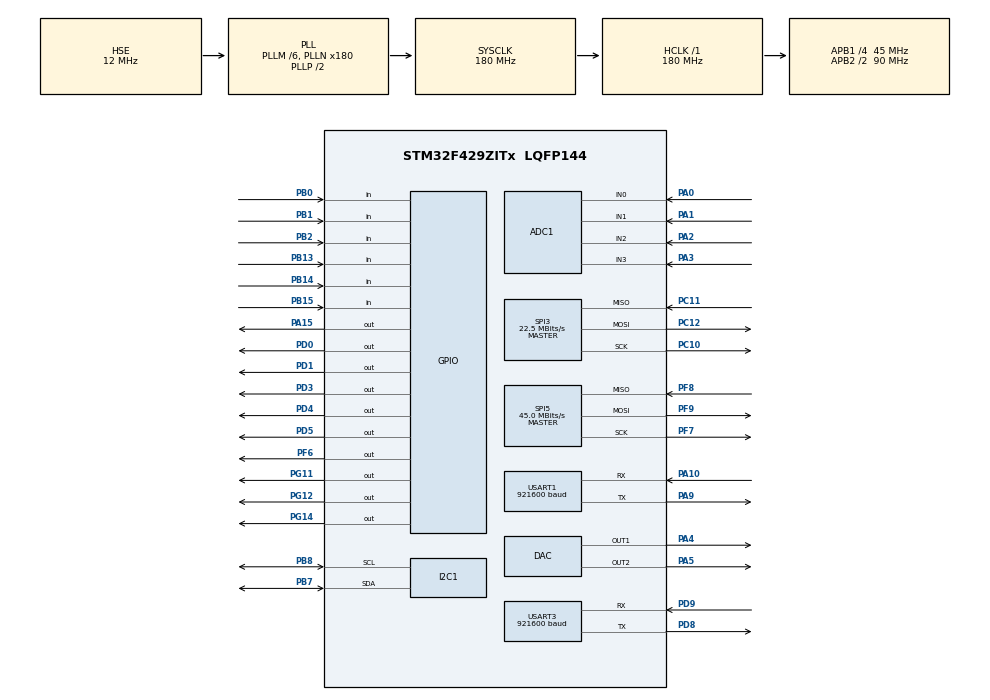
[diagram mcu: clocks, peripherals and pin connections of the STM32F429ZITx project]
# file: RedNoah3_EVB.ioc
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ADC1.Channel-0\#ChannelRegularConversion=ADC_CHANNEL_0
ADC1.ClockPrescaler=ADC_CLOCK_SYNC_PCLK_DIV4
ADC1.ContinuousConvMode=ENABLE
ADC1.NbrOfConversionFlag=1
ADC1.Rank-0\#ChannelRegularConversion=1
ADC1.SamplingTime-0\#ChannelRegularConversion=ADC_SAMPLETIME_3CYCLES
ADC1.master=1
Dma.Request0=USART1_RX
Dma.Request1=USART1_TX
Dma.USART1_RX.0.Direction=DMA_PERIPH_TO_MEMORY
Dma.USART1_RX.0.FIFOMode=DMA_FIFOMODE_ENABLE
Dma.USART1_RX.0.FIFOThreshold=DMA_FIFO_THRESHOLD_FULL
Dma.USART1_RX.0.Instance=DMA2_Stream2
Dma.USART1_RX.0.MemBurst=DMA_MBURST_SINGLE
Dma.USART1_RX.0.MemDataAlignment=DMA_MDATAALIGN_BYTE
Dma.USART1_RX.0.MemInc=DMA_MINC_ENABLE
Dma.USART1_RX.0.Mode=DMA_NORMAL
Dma.USART1_RX.0.PeriphBurst=DMA_PBURST_SINGLE
Dma.USART1_RX.0.PeriphDataAlignment=DMA_PDATAALIGN_BYTE
Dma.USART1_RX.0.PeriphInc=DMA_PINC_DISABLE
Dma.USART1_RX.0.Priority=DMA_PRIORITY_HIGH
Dma.USART1_TX.1.Direction=DMA_MEMORY_TO_PERIPH
Dma.USART1_TX.1.FIFOMode=DMA_FIFOMODE_ENABLE
Dma.USART1_TX.1.FIFOThreshold=DMA_FIFO_THRESHOLD_FULL
Dma.USART1_TX.1.Instance=DMA2_Stream7
Dma.USART1_TX.1.MemBurst=DMA_MBURST_SINGLE
Dma.USART1_TX.1.MemDataAlignment=DMA_MDATAALIGN_BYTE
Dma.USART1_TX.1.MemInc=DMA_MINC_ENABLE
Dma.USART1_TX.1.Mode=DMA_NORMAL
Dma.USART1_TX.1.PeriphBurst=DMA_PBURST_SINGLE
Dma.USART1_TX.1.PeriphDataAlignment=DMA_PDATAALIGN_BYTE
Dma.USART1_TX.1.PeriphInc=DMA_PINC_DISABLE
Dma.USART1_TX.1.Priority=DMA_PRIORITY_HIGH
I2C1.I2C_Mode=I2C_Fast
Mcu.Family=STM32F4
Mcu.Name=STM32F429ZITx
Mcu.Package=LQFP144
NVIC.ADC_IRQn=true\:0\:0\:false\:false\:true\:true\:true
NVIC.DMA2_Stream2_IRQn=true\:0\:0\:false\:false\:true\:false\:true
NVIC.DMA2_Stream7_IRQn=true\:0\:0\:false\:false\:true\:false\:true
NVIC.PriorityGroup=NVIC_PRIORITYGROUP_4
NVIC.TIM1_UP_TIM10_IRQn=true\:0\:0\:false\:false\:true\:true\:true
NVIC.TIM6_DAC_IRQn=true\:0\:0\:false\:false\:true\:true\:true
NVIC.TIM7_IRQn=true\:10\:0\:true\:false\:true\:true\:true
NVIC.USART1_IRQn=true\:0\:0\:false\:false\:true\:true\:true
NVIC.USART3_IRQn=true\:0\:0\:false\:false\:true\:true\:true
PA0/WKUP.Signal=ADCx_IN0
PA1.Signal=ADCx_IN1
PA10.Mode=Asynchronous
PA10.Signal=USART1_RX
PA13.Mode=Serial_Wire
PA13.Signal=SYS_JTMS-SWDIO
PA14.Mode=Serial_Wire
PA14.Signal=SYS_JTCK-SWCLK
PA15.Signal=GPIO_Output
PA2.Signal=ADCx_IN2
PA3.Signal=ADCx_IN3
PA4.Signal=COMP_DAC1_group
PA5.Signal=COMP_DAC2_group
PA9.Mode=Asynchronous
PA9.Signal=USART1_TX
PB0.Signal=GPIO_Input
PB1.Signal=GPIO_Input
PB13.Signal=GPIO_Input
PB14.Signal=GPIO_Input
PB15.Signal=GPIO_Input
PB2/BOOT1.Signal=GPIO_Input
PB7.Mode=I2C
PB7.Signal=I2C1_SDA
PB8.Mode=I2C
PB8.Signal=I2C1_SCL
PC10.Mode=Full_Duplex_Master
PC10.Signal=SPI3_SCK
PC11.Mode=Full_Duplex_Master
PC11.Signal=SPI3_MISO
PC12.Mode=Full_Duplex_Master
PC12.Signal=SPI3_MOSI
PC14/OSC32_IN.Mode=LSE-External-Oscillator
PC14/OSC32_IN.Signal=RCC_OSC32_IN
PC15/OSC32_OUT.Mode=LSE-External-Oscillator
PC15/OSC32_OUT.Signal=RCC_OSC32_OUT
PD0.Signal=GPIO_Output
PD1.Signal=GPIO_Output
PD3.Signal=GPIO_Output
PD4.Signal=GPIO_Output
PD5.Signal=GPIO_Output
PD8.Mode=Asynchronous
PD8.Signal=USART3_TX
PD9.Mode=Asynchronous
PD9.Signal=USART3_RX
PF6.Signal=GPIO_Output
PF7.Mode=Full_Duplex_Master
PF7.Signal=SPI5_SCK
PF8.Mode=Full_Duplex_Master
PF8.Signal=SPI5_MISO
PF9.Mode=Full_Duplex_Master
PF9.Signal=SPI5_MOSI
PG11.Signal=GPIO_Output
PG12.Signal=GPIO_Output
PG14.Signal=GPIO_Output
PH0/OSC_IN.Mode=HSE-External-Oscillator
PH0/OSC_IN.Signal=RCC_OSC_IN
PH1/OSC_OUT.Mode=HSE-External-Oscillator
PH1/OSC_OUT.Signal=RCC_OSC_OUT
ProjectManager.HeapSize=0x200
ProjectManager.StackSize=0x400
ProjectManager.TargetToolchain=MDK-ARM V5
RCC.48MHZClocksFreq_Value=90000000
RCC.AHBFreq_Value=180000000
RCC.APB1CLKDivider=RCC_HCLK_DIV4
RCC.APB1Freq_Value=45000000
RCC.APB1TimFreq_Value=90000000
RCC.APB2CLKDivider=RCC_HCLK_DIV2
RCC.APB2Freq_Value=90000000
RCC.APB2TimFreq_Value=180000000
RCC.CortexFreq_Value=180000000
RCC.HCLKFreq_Value=180000000
RCC.HSE_VALUE=12000000
RCC.HSI_VALUE=16000000
RCC.PLLM=6
RCC.PLLN=180
RCC.PLLSourceVirtual=RCC_PLLSOURCE_HSE
RCC.SYSCLKFreq_VALUE=180000000
RCC.SYSCLKSource=RCC_SYSCLKSOURCE_PLLCLK
RCC.VCOOutputFreq_Value=360000000
RCC.VDD_VALUE=2.8
SH.ADCx_IN0.0=ADC1_IN0,IN0
SH.ADCx_IN1.0=ADC1_IN1,IN1
SH.ADCx_IN2.0=ADC1_IN2,IN2
SH.ADCx_IN3.0=ADC1_IN3,IN3
SH.COMP_DAC1_group.0=DAC_OUT1,DAC_OUT1
SH.COMP_DAC2_group.0=DAC_OUT2,DAC_OUT2
SPI3.CalculateBaudRate=22.5 MBits/s
SPI3.Direction=SPI_DIRECTION_2LINES
SPI3.Mode=SPI_MODE_MASTER
SPI3.VirtualType=VM_MASTER
SPI5.CalculateBaudRate=45.0 MBits/s
SPI5.Direction=SPI_DIRECTION_2LINES
SPI5.Mode=SPI_MODE_MASTER
SPI5.VirtualType=VM_MASTER
USART1.BaudRate=921600
USART1.VirtualMode=VM_ASYNC
USART3.BaudRate=921600
USART3.VirtualMode=VM_ASYNC
VP_TIM1_VS_ClockSourceINT.Mode=Internal
VP_TIM7_VS_ClockSourceINT.Mode=Enable_Timer
board=custom

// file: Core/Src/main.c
/* USER CODE BEGIN Header */
/**
 ******************************************************************************
 * @file           : main.c
 * @brief          : Main program body
 ******************************************************************************
 * @attention
 *
 * <h2><center>&copy; Copyright (c) 2022 STMicroelectronics.
 * All rights reserved.</center></h2>
 *
 * This software component is licensed by ST under Ultimate Liberty license
 * SLA0044, the "License"; You may not use this file except in compliance with
 * the License. You may obtain a copy of the License at:
 *                             www.st.com/SLA0044
 *
 ******************************************************************************
 */
/* USER CODE END Header */
#include "main.h"

/* USER CODE BEGIN Includes */
#include "ae_i2c.h"
#include "sensor.h"
#include "boot_loader.h"
/* USER CODE END Includes */

/* USER CODE BEGIN PTD */
#ifdef _DEBUG_JKS
#define jks_debug(...) printf(__VA_ARGS__)
#else
#define jks_debug(...) NULL
#endif
/* USER CODE END PTD */

ADC_HandleTypeDef hadc1;

DAC_HandleTypeDef hdac;

I2C_HandleTypeDef hi2c1;

SPI_HandleTypeDef hspi3;
SPI_HandleTypeDef hspi5;

TIM_HandleTypeDef htim1;
TIM_HandleTypeDef htim7;

UART_HandleTypeDef huart1;
UART_HandleTypeDef huart3;
DMA_HandleTypeDef hdma_usart1_rx;
DMA_HandleTypeDef hdma_usart1_tx;

/* USER CODE BEGIN PV */
/*Base Struct for BBB*/
volatile struct bit_reg s_bit; // bit reigster
struct uart_packet s_upk;      // uart buffer
struct rtp_packet s_rtp;       // rtp buffer

/*board info*/
u8 g_board_info;
u8 g_ic_info;

/*boot pv*/
u32 g_flash_jmp;

/*i2c pv*/
u8 g_i2c_info[] = {I2C_50KHZ, I2C_100KHZ, I2C_400KHZ, I2C_1MHZ, I2C_1_2MHZ, I2C_2MHZ, I2C_3MHZ};
u8 g_i2c_clk;
u8 g_i2c_id;

/*timer pv*/
u16 g_tmr_psc;
u16 g_tmr_period;
u32 g_tmr_cnt_1ms;

enum board_type
{
  REDNOAH2 = 0,
  REDNOAH3
};

enum fsm
{
  SYS_FSM = 0,
  I2C_FSM,
  RTP_FSM,
  REV_FSM,
  SCP_FSM
};

enum dev
{
  DW7800 = 0,
  DW7802,
  DW7912,
  DW7914
};

/* USER CODE END PV */

void SystemClock_Config(void);
static void MX_GPIO_Init(void);
static void MX_DMA_Init(void);
static void MX_ADC1_Init(void);
static void MX_DAC_Init(void);
static void MX_SPI3_Init(void);
static void MX_SPI5_Init(void);
static void MX_TIM1_Init(void);
static void MX_TIM7_Init(void);
static void MX_USART1_UART_Init(void);
static void MX_USART3_UART_Init(void);
static void MX_I2C1_Init(void);

/* USER CODE BEGIN 0 */
#define PUTCHAR_PROTOTYPE int fputc(int ch, FILE *f)
PUTCHAR_PROTOTYPE
{
  HAL_UART_Transmit(&huart1, (uint8_t *)&ch, 1, 0xFFFF);
  return ch;
}

/* Macro Data Conversion Function */
u16 _8u16(u8 *in) { return (u16)(((u16)in[0] << 8) | in[1]); }

u32 _8u32(u8 *in) { return (u32)((((u32)in[0] << 24) | ((u32)in[1] << 16) | ((u32)in[2] << 8) | ((u32)in[3] << 0))); }

s16 _twos(u16 in)
{ // two's complement
  s16 ret;
  if (in > 32767)
    ret = (s16)(in - 65536);
  else
    ret = in;
  return ret;
}

float _fp(u32 in, u32 num)
{
  return (float)in / (float)num;
}

void _16u8(u16 *_u16, u8 *_u8)
{
  *(_u8 + 0) = *(_u16 + 0) >> 8;
  *(_u8 + 1) = *(_u16 + 0) >> 0;
}

static void delay_us(int t)
{
  for (volatile int k = 0; k < 10; k++)
  {
    for (volatile int i = 0; i < t - 1; i++)
    {
      __asm volatile("NOP");
      __asm volatile("NOP");
      __asm volatile("NOP");
      __asm volatile("NOP");
      __asm volatile("NOP");
      __asm volatile("NOP");
    }
  }
}

/***************************************************************************
Function	: uart_transfer_task
Version		: 1.0
Descript 	:
***************************************************************************/
void uart_transfer_task(u32 tx_size)
{
  /*Default Header. Do not change!*/
  s_upk.buf[0] = 0xAE;
  s_upk.buf[1] = s_upk.hw;
  s_upk.buf[2] = tx_size >> 8;
  s_upk.buf[3] = tx_size >> 0;
  s_upk.buf[4] = 0;
  s_upk.buf[5] = s_upk.echo;

  for (int i = 0; i < tx_size; i++)
  {
    s_upk.buf[4] += s_upk.buf[6 + i];
  }

  LED5_T;
  HAL_UART_Transmit_DMA(&huart1, (u8 *)s_upk.buf, tx_size + BHD6);
  // HAL_UART_Transmit_IT(&huart1,(u8*)s_upk.buf, tx_size + BHD6);
}

static void device_info_request(void)
{
  volatile u8 pin, size, i;
  u32 pid[3];

  i = 0;
  pin = i2c_pin_state();

  /*step: sw version*/
  s_upk.buf[6] = 0;
  s_upk.buf[7] = 0;
  s_upk.buf[8] = (u8)(REDNOAH_FW_INFO >> 24);
  s_upk.buf[9] = (u8)(REDNOAH_FW_INFO >> 16);
  s_upk.buf[10] = (u8)(REDNOAH_FW_INFO >> 8);
  s_upk.buf[11] = (u8)(REDNOAH_FW_INFO >> 0);

  /*step: serial number*/
  pid[0] = HAL_GetUIDw0();
  pid[1] = HAL_GetUIDw1();
  pid[2] = HAL_GetUIDw2();

  for (int i = 0; i < 3; i++)
  {
    s_upk.buf[12 + i * 4] = (u8)(pid[i] >> 24);
    s_upk.buf[13 + i * 4] = (u8)(pid[i] >> 16);
    s_upk.buf[14 + i * 4] = (u8)(pid[i] >> 8);
    s_upk.buf[15 + i * 4] = (u8)(pid[i] >> 0);
  }

  /* i2c pin setting error */
  if (pin != 3)
  {
    s_upk.buf[24] = 0xff;
    s_upk.buf[25] = pin;
    s_upk.buf[26] = 0;
    s_upk.buf[27] = 0;
    size = 19;
  }
  else
  {
    s_upk.buf[24] = 0;
    for (g_i2c_id = 0; g_i2c_id < 200; g_i2c_id += 2)
    {
      if (i2c_write_task(g_i2c_id, 0, 1, &g_i2c_id, 1, I2C_400KHZ) == I2C_ACK)
      {
        s_upk.buf[24]++;
        s_upk.buf[25 + i] = g_i2c_id;
        s_upk.buf[26 + i] = i2c_8bit_r(0x00);
        i += 2;
      }
    }
    size = 19 + s_upk.buf[24] * 2;
  }

  uart_transfer_task(size);
}

/***************************************************************************
Function	: trig pin control
Version		: 1.0
Descript 	: io 1 ~ 4
***************************************************************************/

static void trig_ctrl_task(int setup)
{
  u32 pin_temp;
  u8 temp, pin_num;
  static u8 tn, time_num;
  static u32 pin[8], pin_cnt;
  static u16 delay_cnt, time_elapsed, time[8], time_temp;

  if (!setup)
  {
    /*init reg*/
    tn = 0;
    delay_cnt = 0;
    time_elapsed = 0;
    memset(time, 0, sizeof(time));
    memset(pin, 0, sizeof(pin));

    pin_num = s_upk.buf[8];
    time_num = pin_num * 2;
    for (int i = 0; i < pin_num; i++)
    {
      pin[i] = GPIO_PIN_0 << s_upk.buf[9 + i * 5];
      pin[i + pin_num] = (uint32_t)GPIO_PIN_0 << (16 + s_upk.buf[9 + i * 5]);
      time[i] = _8u16(s_upk.buf + (10 + i * 5));
      time[i + pin_num] = _8u16(s_upk.buf + (12 + i * 5)) + time[i];
    }

    /* sort array */
    for (int i = 0; i < time_num; i++)
    {
      for (int j = 0; j < time_num - 1; j++)
      {
        if (time[j] > time[j + 1])
        {
          pin_temp = pin[j];
          pin[j] = pin[j + 1];
          pin[j + 1] = pin_temp;

          time_temp = time[j];
          time[j] = time[j + 1];
          time[j + 1] = time_temp;
        }
      }
    }

    /* remove duplicats time */
    for (int i = 0; i < time_num - 1; i++)
    {
      temp = time_num;
      for (int j = i + 1; j < temp; j++)
      {
        if (time[i] == time[i + 1])
        {
          time_num--;
          pin[i] |= pin[i + 1];
          for (int k = i + 1; k < time_num; k++)
          {
            pin[k] = pin[k + 1];
            time[k] = time[k + 1];
          }
        }
        else
        {
          break;
        }
      }
    }

    delay_cnt = time[tn] - time_elapsed;
    time_elapsed = time[tn];
    s_bit.trig_act = 1;
  }
  else
  {
    if (s_bit.trig_act)
    {
      if (delay_cnt > 1)
      {
        delay_cnt--;
      }
      else
      {
        GPIOA->BSRR = pin[tn];
        tn++;
        delay_cnt = time[tn] - time_elapsed;
        time_elapsed = time[tn];

        if (tn >= time_num) /* finish */
        {
          s_bit.trig_act = 0;
        }
      }
      // HAL_GPIO_TogglePin(GPIOA, GPIO_PIN_3);
    }
  }
}

/***************************************************************************
Function	: board_set_task
Version		: 1.0
Descript 	: chip info, reset, who am i
***************************************************************************/
static void board_set_task(void)
{
  switch (s_upk.buf[7])
  {
  case 0x00: /*board info */
    device_info_request();
    break;

  case 0x01: /*device info*/
    g_ic_info = s_upk.buf[8];
    g_i2c_id = s_upk.buf[9];
    if (s_upk.buf[5])
      uart_transfer_task(1); // echo
    break;

  case 0x02: /*board reset */
    REDNOAH_RESET;
    break;

  case 0x03: /*ldo control */
    ADJ_LDO_EN(s_upk.buf[8]);
    break;

  case 0x04: /* find auto i2c id */
    s_upk.buf[8] = 0;
    for (u8 id = 1; id < 119; id++)
    {
      if (i2c_write_task(id << 1, 0, 1, &id, 1, I2C_400KHZ) == I2C_ACK)
      {
        s_upk.buf[9 + s_upk.buf[8]] = id << 1;
        s_upk.buf[8]++;
      }
    }
    uart_transfer_task(3 + s_upk.buf[8]); // do not change!
    break;

  case 0x05: /* Trigger pin control */
    trig_ctrl_task(0);
    break;

  case 0xFA: /*firmware update*/
    if (s_upk.buf[8] == 0x01)
    {
      bootloader_update_task();
      jump_vector_table();
    }
    break;
  }
}

/***************************************************************************
Function  : sys_timer_set
Version		: 1.0
Descript 	: timer control tick base is usec
***************************************************************************/
static void sys_timer_set(u32 timer, u32 mode, u32 usec)
{
  switch (timer)
  {
  case TIMER_1:
    if (mode == PLAY)
    {
      /*APB2_180Mhz*/
      g_tmr_psc = 180 - 1;
      s_bit.timer1_act = 1;
      g_tmr_period = usec - 1;
      MX_TIM1_Init();
      HAL_TIM_Base_Start_IT(&htim1);
    }
    else
    {
      s_bit.timer1_act = 0;
      HAL_TIM_Base_Stop_IT(&htim1);
    }
    break;

  case TIMER_7:
    if (mode == PLAY)
    {
      g_tmr_psc = 90 - 1;
      s_bit.timer7_act = 1;
      g_tmr_period = usec - 1;
      MX_TIM7_Init();
      HAL_TIM_Base_Start_IT(&htim7);
    }
    else
    {
      s_bit.timer7_act = 0;
      HAL_TIM_Base_Stop_IT(&htim7);
    }
    break;
  }
}

/***************************************************************************
Function	: init_rednoah_platform_board
Version		: 1.0
Descript 	: init function
***************************************************************************/
static void init_redhoah_system(void)
{
  /*LDO power on*/
  ADJ_LDO_EN(1); /* ADJ LDO Enable */

  /*Auto board check*/
  s_upk.hw = (BOOT_ID2 << 2) | (BOOT_ID1 << 1) | (BOOT_ID0 << 0);

  /*gpio i2c init start*/
  g_i2c_clk = g_i2c_info[3]; /* default 1mhz */
  init_i2c(0, 1);            /* rednoah default, i2c ch 1 */

  /* Accel sensor i2c init */
  si2c_init();

  /*uart get start*/
  HAL_UART_Receive_IT(&huart1, &s_upk.get, 1);
  // HAL_UART_Receive_DMA(&huart1, &s_upk.get, 1);

  /*AXL Sensor*/
  SPI3_NSS0(1);
  SPI3_NSS1(1);
  SPI3_NSS2(1);

  /* GPIO for Trigger */
  GPIO_InitTypeDef GPIO_InitStruct = {0};
  /*Configure GPIO pin : PA0,PA1,PA2,PA3 */
  GPIO_InitStruct.Pin = GPIO_PIN_0 | GPIO_PIN_1 | GPIO_PIN_2 | GPIO_PIN_3;
  GPIO_InitStruct.Mode = GPIO_MODE_OUTPUT_PP;
  GPIO_InitStruct.Pull = GPIO_NOPULL;
  GPIO_InitStruct.Speed = GPIO_SPEED_FREQ_HIGH;
  HAL_GPIO_Init(GPIOA, &GPIO_InitStruct);

  /* for handshake */
  // device_info_request();

  /* SYS LED display*/
  for (int i = 0; i < 4; i++)
  {
    LED1(i % 2);
    HAL_Delay(100);
    LED2(i % 2);
    HAL_Delay(100);
    LED3(i % 2);
    HAL_Delay(100);
  }

  /*boot messsage to PC*/
  sys_timer_set(TIMER_1, PLAY, 1000); /* systick 1ms */
}

/***************************************************************************
Function	: tick_led_task
Version		: 1.0
Descript 	: led blink tick 1ms
***************************************************************************/
static void sys_led_task(void)
{
  volatile static u32 t1, t2, n;

  t1++;
  g_tmr_cnt_1ms++;

  if (t1 > 200)
  {
    t1 = 0;
    LED4_T;
  }

  if (s_bit.rtp_act)
  {
    if (t2 > 100)
    {
      n++;
      t2 = 0;
      if (n == 1)
      {
        LED1(LEDON);
        LED2(LEDOF);
        LED3(LEDOF);
      }
      else if (n == 2)
      {
        LED1(LEDOF);
        LED2(LEDON);
        LED3(LEDOF);
      }
      else if (n == 3)
      {
        n = 0;
        LED1(LEDOF);
        LED2(LEDOF);
        LED3(LEDON);
      }
    }
    else
    {
      t2++;
    }
  }
}

/***************************************************************************
Function	: sys_key_task
Version		: 1.0
Descript 	: polling mode 10ms
***************************************************************************/
static void sys_key_task(void)
{
  volatile static u8 t1, t2, t3;
  volatile static u32 lock;

  if (!KEY1 || !KEY2 || !KEY3)
  {
    if (!KEY1 && !lock)
    {
      t1 = 20;
      lock = 1;
      /* user code here!! */
    }
    else if (!KEY2 && !lock)
    {
      t2 = 20;
      lock = 1;
      /* user code here!! */
    }
    else if (!KEY3 && !lock)
    {
      t3 = 20;
      lock = 1;
      /* user code here!! */
    }
  }
  else
  {
    if (t1)
    {
      t1--;
      (t1 == 0) ? LED1(LEDOF) : LED1(LEDON);
    }
    else if (t2)
    {
      t2--;
      (t2 == 0) ? LED2(LEDOF) : LED2(LEDON);
    }
    else if (t3)
    {
      t3--;
      (t3 == 0) ? LED3(LEDOF) : LED3(LEDON);
    }
    lock = 0;
  }
}

/***************************************************************************
Function	: i2c task
Version		: 1.2
Descript 	: i2c r/w event
***************************************************************************/
static void i2c_task(void)
{
  static u8 scope;
  u8 type, mode, cnt, id;
  u16 dsize, asize, clk;

  if (s_bit.scope_act)
  {
    scope = 1;
    s_bit.scope_act = 0;
  }

  // id = g_i2c_id;
  s_bit.i2c_act = 1;
  type = s_upk.buf[7] & 0x10;
  asize = s_upk.buf[7] & 0x0f;
  /* clk set */
  g_i2c_clk = g_i2c_info[s_upk.buf[8]];
  // clk = g_i2c_clk;

  dsize = _8u16(s_upk.buf + 9);
  g_i2c_id = s_upk.buf[11];

  if (type == 0x10) /* i2c read mode */
  {
    if (new_i2c_write_task(g_i2c_id, (u8 *)s_upk.buf + 12, asize, g_i2c_clk) != I2C_ACK)
    {
      s_upk.buf[7] = 0xff;
      uart_transfer_task(2);
    }
    else
    {
      new_i2c_read_task(g_i2c_id, (u8 *)s_upk.buf + (12 + asize), dsize, g_i2c_clk);
      uart_transfer_task(BHD6 + asize + dsize);
    }
  }
  else /* i2c write mode */
  {
    if (new_i2c_write_task(g_i2c_id, (u8 *)s_upk.buf + 12, dsize + asize, g_i2c_clk) != I2C_ACK)
    {
      s_upk.buf[7] = 0xff;
    }
    else
    {
      s_upk.buf[7] = 0x00;
    }
    uart_transfer_task(2);
  }

  // g_i2c_clk = clk;
  // g_i2c_id = id;
  s_bit.i2c_act = 0;
  s_bit.scope_act = scope;
  scope = 0;
}

/***************************************************************************
Function	: i2c byte write
Version		: 1.0
Descript 	: 8bit addr, data format
***************************************************************************/
u8 i2c_8bit_w(u8 addr, u8 data)
{
  return i2c_write_task(g_i2c_id, addr, I2C_8BIT, &data, 1, g_i2c_clk);
}

/***************************************************************************
Function	: i2c byte read
Version		: 1.0
Descript 	: 8bit addr, data format
***************************************************************************/
u8 i2c_8bit_r(u8 addr)
{
  u8 data;
  i2c_read_task(g_i2c_id, addr, I2C_8BIT, &data, 1, g_i2c_clk);
  return data;
}

/***************************************************************************
Function	: init rtp task
Version		: 1.0
Descript 	: DW7800, DW7912, DW7914 rtp setup
***************************************************************************/
int init_rtp_task(void)
{
  static u8 p;
  u16 time;

  /* basic setup */
  if (s_upk.buf[8] == PLAY)
  {
    /* first time register clear*/
    if (s_bit.rtp_act == 0)
    {
      p = 0;
      s_rtp.play = 0;
      s_rtp.cnt[0] = 0;
      s_rtp.cnt[1] = 0;
    }

    s_rtp.play++;
    s_rtp.cnt[p] = 0;
    s_rtp.dev = s_upk.buf[7];
    s_rtp.size[p] = _8u16(s_upk.buf + 9);

    for (int i = 0; i < s_rtp.size[p]; i++)
    {
      s_rtp.buf[p][i] = s_upk.buf[11 + i];
    }
    p ^= 1;

    /* is first time run?*/
    if (s_bit.rtp_act == 0)
    {
      /* device setup */
      if (s_rtp.dev == DW7800)
      {
        time = 5000;
      }
      else if (s_rtp.dev == DW7802)
      {
        time = 5000;
      }
      else if (s_rtp.dev == DW7912)
      {
        /* for test set value */
        time = 5000;
        // i2c_8bit_w(0x09, 0x01);
      }
      else if (s_rtp.dev == DW7914)
      {
        time = 5000;
        // i2c_8bit_w(0x0B, 0x00); /* RTP */
      }

      s_bit.rtp_act = 1;
      s_bit.rtp_stop = 0;
      sys_timer_set(TIMER_7, PLAY, time); /* start timer */
    }
  }
  else /* stop */
  {
    if (s_rtp.dev == DW7800)
    {
      /* dw7800 sw reset */
      // i2c_8bit_w(0x05, 0x01);
    }
    else if (s_rtp.dev == DW7802)
    {
      i2c_8bit_w(0x0C, 0x00);
    }
    else if (s_rtp.dev == DW7912)
    {
      /* play stop & fifo fulsh */
      i2c_8bit_w(0x09, 0x00);
    }
    else if (s_rtp.dev == DW7914)
    {
      i2c_8bit_w(0x0C, 0x00);
    }

    s_bit.rtp_stop = 1;
  }

  return 0;
}

/***************************************************************************
Function	: play rtp task
Version		: 1.0
Descript 	: stream data for real time play
***************************************************************************/
int play_rtp_task(void)
{
  u8 buf[2];
  u16 fifo, play;
  static u8 echo, p;

  if (s_rtp.play && (s_bit.rtp_stop == 0))
  {
    /* DW7800 */
    if (s_rtp.dev == DW7800)
    {
      /* step : check fifo */
      fifo = i2c_8bit_r(0x03);

      if (fifo < 127)
      {
        /* what if fifo is empty?*/
        if (s_rtp.size[p] > s_rtp.cnt[p])
        {
          play = 127 - fifo;

          if (play > (s_rtp.size[p] - s_rtp.cnt[p]))
          {
            play = s_rtp.size[p] - s_rtp.cnt[p];
          }

          i2c_write_task(g_i2c_id, 0x04, I2C_8BIT, ((u8 *)s_rtp.buf[p] + s_rtp.cnt[p]), play, I2C_1MHZ);
          s_rtp.cnt[p] += play;

          /* hand shake */
          if (echo == 0)
          {
            echo = 1;
            _16u8(&s_rtp.cnt[p], s_upk.buf + 9);
            uart_transfer_task(5);
          }

          /* swap buffer */
          if (s_rtp.size[p] == s_rtp.cnt[p])
          {
            p ^= 1;
            echo = 0;
            s_rtp.play--;
            s_rtp.cnt[p] = 0;
          }
        }
      }
    }

    /* DW7802 */
    else if (s_rtp.dev == DW7802)
    {
      /* step : check fifo */
      i2c_read_task(g_i2c_id, 0x31, I2C_8BIT, buf, 2, I2C_1MHZ);
      fifo = _8u16(buf);

      /* what if fifo is empty?*/
      if (s_rtp.size[p] > s_rtp.cnt[p])
      {
        play = 2048 - fifo;

        if (play > (s_rtp.size[p] - s_rtp.cnt[p]))
        {
          play = s_rtp.size[p] - s_rtp.cnt[p];
        }

        i2c_write_task(g_i2c_id, 0x0D, I2C_8BIT, ((u8 *)s_rtp.buf[p] + s_rtp.cnt[p]), play, I2C_1MHZ);
        // i2c_8bit_w(0x0C, 0x01);
        buf[0] = 0x01;
        i2c_write_task(g_i2c_id, 0x0C, I2C_8BIT, buf, 1, I2C_1MHZ);
        s_rtp.cnt[p] += play;

        /* hand shake */
        if (echo == 0)
        {
          echo = 1;
          _16u8(&s_rtp.cnt[p], s_upk.buf + 9);
          uart_transfer_task(5);
        }

        /* swap buffer */
        if (s_rtp.size[p] == s_rtp.cnt[p])
        {
          p ^= 1;
          echo = 0;
          s_rtp.play--;
          s_rtp.cnt[p] = 0;
        }
      }
    }

    /* DW7912 */
    else if (s_rtp.dev == DW7912)
    {
      /* step : check fifo */
      fifo = i2c_8bit_r(0x0A);

      /* what if fifo is empty?*/
      if (s_rtp.size[p] > s_rtp.cnt[p])
      {
        play = 2048 - (fifo * 64 + 64);

        if (play > (s_rtp.size[p] - s_rtp.cnt[p]))
        {
          play = s_rtp.size[p] - s_rtp.cnt[p];
        }

        i2c_write_task(g_i2c_id, 0x0A, I2C_8BIT, ((u8 *)s_rtp.buf[p] + s_rtp.cnt[p]), play, I2C_1MHZ);
        // i2c_8bit_w(0x09, 0x01);
        buf[0] = 0x01;
        i2c_write_task(g_i2c_id, 0x09, I2C_8BIT, buf, 1, I2C_1MHZ);
        s_rtp.cnt[p] += play;

        /* hand shake */
        if (echo == 0)
        {
          echo = 1;
          _16u8(&s_rtp.cnt[p], s_upk.buf + 9);
          uart_transfer_task(5);
        }

        /* swap buffer */
        if (s_rtp.size[p] == s_rtp.cnt[p])
        {
          p ^= 1;
          echo = 0;
          s_rtp.play--;
          s_rtp.cnt[p] = 0;
        }
      }
    }

    /* DW7914 */
    else if (s_rtp.dev == DW7914)
    {
      /* step : check fifo */
      i2c_read_task(g_i2c_id, 0x4D, I2C_8BIT, buf, 2, I2C_1MHZ);
      fifo = _8u16(buf);

      /* what if fifo is empty?*/
      if (s_rtp.size[p] > s_rtp.cnt[p])
      {
        play = 2048 - fifo;

        if (play > (s_rtp.size[p] - s_rtp.cnt[p]))
        {
          play = s_rtp.size[p] - s_rtp.cnt[p];
        }

        i2c_write_task(g_i2c_id, 0x0D, I2C_8BIT, ((u8 *)s_rtp.buf[p] + s_rtp.cnt[p]), play, I2C_1MHZ);
        // i2c_8bit_w(0x0C, 0x01);
        buf[0] = 0x01;
        i2c_write_task(g_i2c_id, 0x0C, I2C_8BIT, buf, 1, I2C_1MHZ);
        s_rtp.cnt[p] += play;

        /* hand shake */
        if (echo == 0)
        {
          echo = 1;
          _16u8(&s_rtp.cnt[p], s_upk.buf + 9);
          uart_transfer_task(5);
        }

        /* swap buffer */
        if (s_rtp.size[p] == s_rtp.cnt[p])
        {
          p ^= 1;
          echo = 0;
          s_rtp.play--;
          s_rtp.cnt[p] = 0;
        }
      }
    }
  }
  else
  {
    /* play end or stop*/
    p = 0;
    echo = 0;
    s_bit.rtp_act = 0;
    sys_timer_set(TIMER_7, STOP, 0);

    /* for hand shake */
    s_upk.buf[6] = 0x02;
    s_upk.buf[7] = s_rtp.dev;
    s_upk.buf[8] = 0xff;
    uart_transfer_task(3);

    LED1(LEDON);
    LED2(LEDON);
    LED3(LEDON);
  }

  return 0;
}

/***************************************************************************
Function	: main_func_state_machine
Version		: 1.0
Descript 	: max packet 4kbyte
***************************************************************************/
static void main_func_state_machine(void)
{
  if (s_bit.rx_done == 1)
  {
    switch (s_upk.buf[6])
    {
    case SYS_FSM:
      board_set_task();
      break;

    case I2C_FSM:
      i2c_task();
      break;

    case RTP_FSM:
      init_rtp_task();
      break;

    case SCP_FSM:
      g_sensor_set_task();
      break;
    }
    s_bit.rx_done = 0;

    LED5_T;
  }
}

/***************************************************************************
Function	: ADXL343 Sensor
Version		: 1.0
Descript 	: Data read out (200us)
***************************************************************************/
void g_sensor_read_out(void)
{
  u16 p, n;
  u8 dat[6], fifo;
  static u8 cks, mode;

  // HAL_GPIO_TogglePin(GPIOA, GPIO_PIN_3);

  /* Auto trigger mode */
  if (s_rtp.mode == 0x01)
  {
    if (s_rtp.loop[0] > s_rtp.cnt[0])
    {
      /* all sensor read */
      dat[0] = 0x39;
      si2c_write_task(0, s_rtp.id, dat, 1, I2C_2MHZ);
      si2c_read_task(0, s_rtp.id, &fifo, 1, I2C_2MHZ);

      if (fifo + s_rtp.cnt[0] > s_rtp.loop[0])
      {
        fifo = s_rtp.loop[0] - s_rtp.cnt[0];
      }

      for (int i = 0; i < fifo; i++)
      {
        for (int ch = 0; ch < 3; ch++)
        {
          dat[0] = 0x32;
          si2c_write_task(ch, s_rtp.id, dat, 1, I2C_2MHZ);
          si2c_read_task(ch, s_rtp.id, dat, 6, I2C_2MHZ);

          p = s_rtp.cnt[0] * 18;
          n = (ch * 6) + p;
          s_upk.buf[12 + n] = dat[0];
          s_upk.buf[13 + n] = dat[1];
          s_upk.buf[14 + n] = dat[2];
          s_upk.buf[15 + n] = dat[3];
          s_upk.buf[16 + n] = dat[4];
          s_upk.buf[17 + n] = dat[5];
        }
        s_rtp.cnt[0]++;
      }
    }
    else
    {
      /* kill timer */
      s_rtp.cnt[0] = 0;
      s_bit.scope_act = 0;
      sys_timer_set(TIMER_7, STOP, 0);

      /* for hand shake */
      s_upk.buf[8] = 0xFF;
      s_upk.buf[9] = 0x00;
      s_upk.buf[10] = s_rtp.size[0] >> 8;
      s_upk.buf[11] = s_rtp.size[0] >> 0;
      uart_transfer_task(6 + s_rtp.size[0]);

      /* flush FIFO and set to BYPASS Mode */
      for (int ch = 0; ch < 3; ch++)
      {
        dat[0] = 0x38;
        dat[1] = 0x00;
        si2c_write_task(ch, s_rtp.id, dat, 2, I2C_2MHZ);
      }
    }
  }

  /* continuous mode */
  else if (s_rtp.mode == 0x02)
  {
    if (s_rtp.cnt[0] == 0)
    {
      cks = 0;
    }

    /* sensor read for fifo size*/
    dat[0] = 0x39;
    for (int i = 0; i < 3; i++)
    {
      if (si2c_write_task(i, s_rtp.id, dat, 1, I2C_2MHZ) == I2C_ACK)
      {
        si2c_read_task(i, s_rtp.id, &fifo, 1, I2C_2MHZ);
        break;
      }
    }

    if (fifo + s_rtp.cnt[0] > s_rtp.loop[0])
    {
      fifo = s_rtp.loop[0] - s_rtp.cnt[0];
    }

    /* 18byte x fifo */
    for (int i = 0; i < fifo; i++)
    {
      for (int ch = 0; ch < 3; ch++)
      {
        /* sensor readout */
        dat[0] = 0x32;
        si2c_write_task(ch, s_rtp.id, dat, 1, I2C_2MHZ);
        si2c_read_task(ch, s_rtp.id, dat, 6, I2C_2MHZ);

        if (s_rtp.cnt[1] < s_rtp.loop[0])
        {
          s_rtp.pk = 0;
        }
        else
        {
          s_rtp.pk = 1;
        }
        /* sensor data copy to uart buffer  */
        for (int k = 0; k < 6; k++)
        {
          n = (ch * 6) + (s_rtp.cnt[0] * 18);
          s_rtp.buf[s_rtp.pk][(12 + k) + n] = dat[k];
          cks += dat[k];
        }
      }
      s_rtp.cnt[0]++;
      s_rtp.cnt[1]++;
      // max size = fifo x (3ch x 6)
    }

    if (s_rtp.cnt[1] == s_rtp.loop[0])
    {
      s_rtp.cnt[0] = 0;

      for (int i = 0; i < 6; i++)
      {
        cks += s_rtp.buf[0][6 + i];
      }
      s_rtp.buf[0][4] = cks;
      HAL_UART_Transmit_DMA(&huart1, s_rtp.buf[0], s_rtp.psize + BHD6);
      LED5_T;
    }

    else if (s_rtp.cnt[1] == s_rtp.loop[1])
    {
      s_rtp.cnt[0] = 0;
      s_rtp.cnt[1] = 0;

      for (int i = 0; i < 6; i++)
      {
        cks += s_rtp.buf[1][6 + i];
      }
      s_rtp.buf[1][4] = cks;
      HAL_UART_Transmit_DMA(&huart1, s_rtp.buf[1], s_rtp.psize + BHD6);
      LED5_T;
    }
  }
}

/***************************************************************************
Function	: ADXL343 Sensor
Version		: 1.0
Descript 	: Data set up
***************************************************************************/
void g_sensor_set_task(void)
{
  u16 time;
  u8 dat[2], get, rsize;

  rsize = 18;
  time = 1000;
  s_rtp.id = 0x3A;

  if (s_upk.buf[7] == 0x00)
  {
    /* sensor setting & detect */
    if (s_upk.buf[8] == 0x00)
    {
      /* wrtie dummy data for i2c line activate */
      dat[0] = 0x00;
      si2c_write_task(0, s_rtp.id, dat, 1, I2C_400KHZ);
      si2c_write_task(1, s_rtp.id, dat, 1, I2C_400KHZ);
      si2c_write_task(2, s_rtp.id, dat, 1, I2C_400KHZ);

      /* auto contect detect */
      for (int ch = 0; ch < 3; ch++)
      {
        dat[0] = 0x00;
        si2c_write_task(ch, s_rtp.id, dat, 1, I2C_400KHZ);
        si2c_read_task(ch, s_rtp.id, &get, 1, I2C_400KHZ);
        (get == 0xE5) ? (s_upk.buf[9 + ch] = get) : (s_upk.buf[9 + ch] = 0xFF);

        if (get == 0xE5)
        {
          /* Default Sensor setup */
          dat[0] = 0x2E; /* sensor setup */
          dat[1] = 0x00;
          si2c_write_task(ch, s_rtp.id, dat, 2, I2C_400KHZ);

          dat[0] = 0x1D; /* Tab threshold */
          dat[1] = 20;
          si2c_write_task(ch, s_rtp.id, dat, 2, I2C_400KHZ);

          dat[0] = 0x21; /* DUR register */
          dat[1] = 50;
          si2c_write_task(ch, s_rtp.id, dat, 2, I2C_400KHZ);

          dat[0] = 0x22;
          dat[1] = 0;
          si2c_write_task(ch, s_rtp.id, dat, 2, I2C_400KHZ);

          dat[0] = 0x23;
          dat[1] = 0;
          si2c_write_task(ch, s_rtp.id, dat, 2, I2C_400KHZ);

          dat[0] = 0x2A; /* Tab Axes */
          dat[1] = 0x07;
          si2c_write_task(ch, s_rtp.id, dat, 2, I2C_400KHZ);

          dat[0] = 0x2C; /* Data Rate 3200Hz */
          dat[1] = 0x0F;
          si2c_write_task(ch, s_rtp.id, dat, 2, I2C_400KHZ);

          dat[0] = 0x2D; /* Power Control */
          dat[1] = 0x08;
          si2c_write_task(ch, s_rtp.id, dat, 2, I2C_400KHZ);
        }
      }
      /* for handshake */
      uart_transfer_task(6);
    }
    /* g scale setting */
    else if (s_upk.buf[8] == 0x01)
    {
      for (int ch = 0; ch < 3; ch++)
      {
        if (s_upk.buf[9 + (ch * 2)] & 0x01)
        {
          /* sensor data format */
          dat[0] = 0x31;
          /* set to full resolution */
          dat[1] = 0x08 | s_upk.buf[10 + (ch * 2)];
          si2c_write_task(ch, s_rtp.id, dat, 2, I2C_400KHZ);
        }

        /* for handshake */
        uart_transfer_task(4);
      }
    }
    /* Sensor Offset Calibration */
    else if (s_upk.buf[8] == 0x02)
    {
      sys_timer_set(TIMER_7, PLAY, 300);
      s_bit.scope_cal = 1;
    }
  }

  /* auto trigger setting*/
  else if (s_upk.buf[7] == 0x01)
  {
    s_rtp.mode = s_upk.buf[7];
    // s_rtp.loop[0] = _8u16(s_upk.buf + 11) * 1000 / time;
    s_rtp.loop[0] = _8u16(s_upk.buf + 11) * 3200 / 1000;
    s_rtp.size[0] = s_rtp.loop[0] * rsize; /* 3 Sensor x 6byte */
    s_rtp.cnt[0] = 0;

    /* Set to FIFO Mode */
    for (int ch = 0; ch < 3; ch++)
    {
      dat[0] = 0x38;
      dat[1] = 0x40;
      si2c_write_task(ch, s_rtp.id, dat, 2, I2C_400KHZ);
    }

    /* timer set & measure started*/
    sys_timer_set(TIMER_7, s_upk.buf[8], time);

    if (s_upk.buf[8] == PLAY)
    {
      s_bit.scope_act = 1;
    }
    else
    {
      s_bit.scope_act = 0;
    }

    /* device setup */
    if (s_upk.buf[9] == DW7800)
    {
      /* not supported  */
    }
    else if (s_upk.buf[9] == DW7802)
    {
      /*  */
      i2c_8bit_w(0x0C, 0x01); /* play on */
    }
    else if (s_upk.buf[9] == DW7912)
    {
      /*  */
      i2c_8bit_w(0x09, 0x01); /* play on */
    }
    else if (s_upk.buf[9] == DW7914)
    {
      /*  */
      i2c_8bit_w(0x0C, 0x01); /* play on */
    }
  }

  /* continuous setting*/
  else if (s_upk.buf[7] == 0x02)
  {
    s_rtp.mode = s_upk.buf[7];
    // s_rtp.loop[0] = _8u16(s_upk.buf + 11) * 1000 / time;
    s_rtp.loop[0] = _8u16(s_upk.buf + 11) * 3200 / 1000;
    s_rtp.loop[1] = s_rtp.loop[0] << 1;
    s_rtp.psize = s_rtp.loop[0] * rsize + 6;
    s_rtp.cnt[0] = 0;
    s_rtp.cnt[1] = 0;

    /* stream dummy data */
    for (int i = 0; i < 10; i++)
    {
      s_rtp.buf[0][i] = s_upk.buf[i];
      s_rtp.buf[1][i] = s_upk.buf[i];
    }
    /* packet size redefine */
    s_rtp.buf[0][2] = s_rtp.psize >> 8;
    s_rtp.buf[0][3] = s_rtp.psize >> 0;
    s_rtp.buf[1][2] = s_rtp.psize >> 8;
    s_rtp.buf[1][3] = s_rtp.psize >> 0;

    s_rtp.buf[0][10] = (s_rtp.psize - 6) >> 8;
    s_rtp.buf[0][11] = (s_rtp.psize - 6) >> 0;
    s_rtp.buf[1][10] = (s_rtp.psize - 6) >> 8;
    s_rtp.buf[1][11] = (s_rtp.psize - 6) >> 0;

    /* Set to FIFO Mode */
    for (int ch = 0; ch < 3; ch++)
    {
      dat[0] = 0x38;
      dat[1] = 0x40;
      si2c_write_task(ch, s_rtp.id, dat, 2, I2C_400KHZ);
    }

    /* timer set & measure started*/
    sys_timer_set(TIMER_7, s_upk.buf[8], time);

    if (s_upk.buf[8] == PLAY)
    {
      s_bit.scope_act = 1;
    }
    else
    {
      /* flush FIFO and set to BYPASS Mode */
      for (int ch = 0; ch < 3; ch++)
      {
        dat[0] = 0x38;
        dat[1] = 0x00;
        si2c_write_task(ch, s_rtp.id, dat, 2, I2C_400KHZ);
      }

      uart_transfer_task(3);
      s_bit.scope_act = 0;
    }
  }
}

/***************************************************************************
Function	: ADXL343 Sensor
Version		: 1.0
Descript 	: Offset Calibration
***************************************************************************/
void g_sensor_ofs_cal(void)
{
  static s32 sum[9];
  static u16 cnt;
  u16 avg = 320;
  u8 dat[6], buf[6], fifo;
  s8 ofs[3];

  /* initialize offset registers */
  if (cnt == 0)
  {
    dat[0] = 0x1E;
    dat[1] = 0x00;
    dat[2] = 0x00;
    dat[3] = 0x00;
    for (int ch = 0; ch < 3; ch++)
    {
      si2c_write_task(ch, s_rtp.id, dat, 4, I2C_2MHZ);
    }

    /* Set to FIFO Mode */
    for (int ch = 0; ch < 3; ch++)
    {
      dat[0] = 0x38;
      dat[1] = 0x40;
      si2c_write_task(ch, s_rtp.id, dat, 2, I2C_2MHZ);
    }
  }

  /* read all sensors */
  dat[0] = 0x39;
  si2c_write_task(0, s_rtp.id, dat, 1, I2C_2MHZ);
  si2c_read_task(0, s_rtp.id, &fifo, 1, I2C_2MHZ);
  if (fifo + cnt > avg)
  {
    fifo = avg - cnt;
  }
  for (int i = 0; i < fifo; i++)
  {
    for (int ch = 0; ch < 3; ch++)
    {
      dat[0] = 0x32;
      si2c_write_task(ch, s_rtp.id, dat, 1, I2C_2MHZ);
      si2c_read_task(ch, s_rtp.id, dat, 6, I2C_2MHZ);

      /* swap bytes */
      buf[0] = dat[1];
      buf[1] = dat[0];
      buf[2] = dat[3];
      buf[3] = dat[2];
      buf[4] = dat[5];
      buf[5] = dat[4];

      /* summation of 0.1sec read data */
      sum[0 + (ch * 3)] += _twos(_8u16(&buf[0]));
      sum[1 + (ch * 3)] += _twos(_8u16(&buf[2]));
      sum[2 + (ch * 3)] += _twos(_8u16(&buf[4]));
    }
    cnt++;
  }

  /* write offset */
  if (cnt == avg)
  {
    for (int ch = 0; ch < 3; ch++)
    {
      ofs[0] = -sum[0 + (ch * 3)] / avg / 4; /* average and convert g values */
      ofs[1] = -sum[1 + (ch * 3)] / avg / 4; /* read data :  3.9mg/LSB in full resolution mode */
      ofs[2] = -sum[2 + (ch * 3)] / avg / 4; /* ofs reg   : 15.6mg/LSB */

      dat[0] = 0x1E;
      dat[1] = ofs[0];
      dat[2] = ofs[1];
      dat[3] = ofs[2];

      si2c_write_task(ch, s_rtp.id, dat, 4, I2C_2MHZ);
    }
    /* kill timer */
    sys_timer_set(TIMER_7, STOP, 0);
    s_bit.scope_cal = 0;

    /* for hand shake */
    s_upk.buf[9] = 0xFF;
    uart_transfer_task(4);

    /* flush FIFO and set to BYPASS Mode */
    for (int ch = 0; ch < 3; ch++)
    {
      dat[0] = 0x38;
      dat[1] = 0x00;
      si2c_write_task(ch, s_rtp.id, dat, 2, I2C_2MHZ);
    }

    /* initialize variables */
    cnt = 0;
    for (int i = 0; i < 9; i++)
    {
      sum[i] = 0;
    }
  }
}

/* USER CODE END 0 */

int main(void)
{

  /* MCU Configuration--------------------------------------------------------*/

  /* Reset of all peripherals, Initializes the Flash interface and the Systick. */
  HAL_Init();

  /* Configure the system clock */
  SystemClock_Config();

  /* Initialize all configured peripherals */
  MX_GPIO_Init();
  MX_DMA_Init();
  MX_ADC1_Init();
  MX_DAC_Init();
  MX_SPI3_Init();
  MX_SPI5_Init();
  MX_TIM1_Init();
  MX_TIM7_Init();
  MX_USART1_UART_Init();
  MX_USART3_UART_Init();
  MX_I2C1_Init();
  /* USER CODE BEGIN 2 */
  init_redhoah_system();

  /* USER CODE END 2 */

  /* Infinite loop */
  while (1)
  {

    /* USER CODE BEGIN 3 */
    if (s_bit.timer1_act)
    {
      trig_ctrl_task(RUN);
      sys_led_task();
      sys_key_task();
      s_bit.timer1_act = 0;
    }

    if (s_bit.timer7_act)
    {
      if (s_bit.rtp_act)
      {
        play_rtp_task();
      }
      else if (s_bit.scope_act)
      {
        g_sensor_read_out();
      }
      else if (s_bit.scope_cal)
      {
        g_sensor_ofs_cal();
      }
      s_bit.timer7_act = 0;
    }

    main_func_state_machine();
  }
  /* USER CODE END 3 */
}

void SystemClock_Config(void)
{
  RCC_OscInitTypeDef RCC_OscInitStruct = {0};
  RCC_ClkInitTypeDef RCC_ClkInitStruct = {0};

  /** Configure the main internal regulator output voltage
   */
  __HAL_RCC_PWR_CLK_ENABLE();
  __HAL_PWR_VOLTAGESCALING_CONFIG(PWR_REGULATOR_VOLTAGE_SCALE1);
  /** Initializes the RCC Oscillators according to the specified parameters
   * in the RCC_OscInitTypeDef structure.
   */
  RCC_OscInitStruct.OscillatorType = RCC_OSCILLATORTYPE_HSE;
  RCC_OscInitStruct.HSEState = RCC_HSE_ON;
  RCC_OscInitStruct.PLL.PLLState = RCC_PLL_ON;
  RCC_OscInitStruct.PLL.PLLSource = RCC_PLLSOURCE_HSE;
  RCC_OscInitStruct.PLL.PLLM = 6;
  RCC_OscInitStruct.PLL.PLLN = 180;
  RCC_OscInitStruct.PLL.PLLP = RCC_PLLP_DIV2;
  RCC_OscInitStruct.PLL.PLLQ = 4;
  if (HAL_RCC_OscConfig(&RCC_OscInitStruct) != HAL_OK)
  {
    Error_Handler();
  }
  /** Activate the Over-Drive mode
   */
  if (HAL_PWREx_EnableOverDrive() != HAL_OK)
  {
    Error_Handler();
  }
  /** Initializes the CPU, AHB and APB buses clocks
   */
  RCC_ClkInitStruct.ClockType = RCC_CLOCKTYPE_HCLK | RCC_CLOCKTYPE_SYSCLK | RCC_CLOCKTYPE_PCLK1 | RCC_CLOCKTYPE_PCLK2;
  RCC_ClkInitStruct.SYSCLKSource = RCC_SYSCLKSOURCE_PLLCLK;
  RCC_ClkInitStruct.AHBCLKDivider = RCC_SYSCLK_DIV1;
  RCC_ClkInitStruct.APB1CLKDivider = RCC_HCLK_DIV4;
  RCC_ClkInitStruct.APB2CLKDivider = RCC_HCLK_DIV2;

  if (HAL_RCC_ClockConfig(&RCC_ClkInitStruct, FLASH_LATENCY_5) != HAL_OK)
  {
    Error_Handler();
  }
}

static void MX_ADC1_Init(void)
{

  ADC_ChannelConfTypeDef sConfig = {0};

  /** Configure the global features of the ADC (Clock, Resolution, Data Alignment and number of conversion)
   */
  hadc1.Instance = ADC1;
  hadc1.Init.ClockPrescaler = ADC_CLOCK_SYNC_PCLK_DIV4;
  hadc1.Init.Resolution = ADC_RESOLUTION_12B;
  hadc1.Init.ScanConvMode = DISABLE;
  hadc1.Init.ContinuousConvMode = ENABLE;
  hadc1.Init.DiscontinuousConvMode = DISABLE;
  hadc1.Init.ExternalTrigConvEdge = ADC_EXTERNALTRIGCONVEDGE_NONE;
  hadc1.Init.ExternalTrigConv = ADC_SOFTWARE_START;
  hadc1.Init.DataAlign = ADC_DATAALIGN_RIGHT;
  hadc1.Init.NbrOfConversion = 1;
  hadc1.Init.DMAContinuousRequests = DISABLE;
  hadc1.Init.EOCSelection = ADC_EOC_SINGLE_CONV;
  if (HAL_ADC_Init(&hadc1) != HAL_OK)
  {
    Error_Handler();
  }
  /** Configure for the selected ADC regular channel its corresponding rank in the sequencer and its sample time.
   */
  sConfig.Channel = ADC_CHANNEL_0;
  sConfig.Rank = 1;
  sConfig.SamplingTime = ADC_SAMPLETIME_3CYCLES;
  if (HAL_ADC_ConfigChannel(&hadc1, &sConfig) != HAL_OK)
  {
    Error_Handler();
  }
}

static void MX_DAC_Init(void)
{

  DAC_ChannelConfTypeDef sConfig = {0};

  /** DAC Initialization
   */
  hdac.Instance = DAC;
  if (HAL_DAC_Init(&hdac) != HAL_OK)
  {
    Error_Handler();
  }
  /** DAC channel OUT1 config
   */
  sConfig.DAC_Trigger = DAC_TRIGGER_NONE;
  sConfig.DAC_OutputBuffer = DAC_OUTPUTBUFFER_ENABLE;
  if (HAL_DAC_ConfigChannel(&hdac, &sConfig, DAC_CHANNEL_1) != HAL_OK)
  {
    Error_Handler();
  }
  /** DAC channel OUT2 config
   */
  if (HAL_DAC_ConfigChannel(&hdac, &sConfig, DAC_CHANNEL_2) != HAL_OK)
  {
    Error_Handler();
  }
}

static void MX_I2C1_Init(void)
{

  hi2c1.Instance = I2C1;
  hi2c1.Init.ClockSpeed = 400000;
  hi2c1.Init.DutyCycle = I2C_DUTYCYCLE_2;
  hi2c1.Init.OwnAddress1 = 0;
  hi2c1.Init.AddressingMode = I2C_ADDRESSINGMODE_7BIT;
  hi2c1.Init.DualAddressMode = I2C_DUALADDRESS_DISABLE;
  hi2c1.Init.OwnAddress2 = 0;
  hi2c1.Init.GeneralCallMode = I2C_GENERALCALL_DISABLE;
  hi2c1.Init.NoStretchMode = I2C_NOSTRETCH_DISABLE;
  if (HAL_I2C_Init(&hi2c1) != HAL_OK)
  {
    Error_Handler();
  }
  /** Configure Analogue filter
   */
  if (HAL_I2CEx_ConfigAnalogFilter(&hi2c1, I2C_ANALOGFILTER_ENABLE) != HAL_OK)
  {
    Error_Handler();
  }
  /** Configure Digital filter
   */
  if (HAL_I2CEx_ConfigDigitalFilter(&hi2c1, 0) != HAL_OK)
  {
    Error_Handler();
  }
}

static void MX_SPI3_Init(void)
{

  /* SPI3 parameter configuration*/
  hspi3.Instance = SPI3;
  hspi3.Init.Mode = SPI_MODE_MASTER;
  hspi3.Init.Direction = SPI_DIRECTION_2LINES;
  hspi3.Init.DataSize = SPI_DATASIZE_8BIT;
  hspi3.Init.CLKPolarity = SPI_POLARITY_LOW;
  hspi3.Init.CLKPhase = SPI_PHASE_2EDGE;
  hspi3.Init.NSS = SPI_NSS_SOFT;
  hspi3.Init.BaudRatePrescaler = SPI_BAUDRATEPRESCALER_8;
  hspi3.Init.FirstBit = SPI_FIRSTBIT_MSB;
  hspi3.Init.TIMode = SPI_TIMODE_DISABLE;
  hspi3.Init.CRCCalculation = SPI_CRCCALCULATION_DISABLE;
  hspi3.Init.CRCPolynomial = 10;
  if (HAL_SPI_Init(&hspi3) != HAL_OK)
  {
    Error_Handler();
  }
  /* USER CODE BEGIN SPI3_Init 2 */
  hspi3.Init.CLKPolarity = SPI_POLARITY_HIGH;
  hspi3.Init.BaudRatePrescaler = SPI_BAUDRATEPRESCALER_32;
  if (HAL_SPI_Init(&hspi3) != HAL_OK)
  {
    Error_Handler();
  }
  /* USER CODE END SPI3_Init 2 */
}

static void MX_SPI5_Init(void)
{

  /* SPI5 parameter configuration*/
  hspi5.Instance = SPI5;
  hspi5.Init.Mode = SPI_MODE_MASTER;
  hspi5.Init.Direction = SPI_DIRECTION_2LINES;
  hspi5.Init.DataSize = SPI_DATASIZE_8BIT;
  hspi5.Init.CLKPolarity = SPI_POLARITY_LOW;
  hspi5.Init.CLKPhase = SPI_PHASE_1EDGE;
  hspi5.Init.NSS = SPI_NSS_SOFT;
  hspi5.Init.BaudRatePrescaler = SPI_BAUDRATEPRESCALER_2;
  hspi5.Init.FirstBit = SPI_FIRSTBIT_MSB;
  hspi5.Init.TIMode = SPI_TIMODE_DISABLE;
  hspi5.Init.CRCCalculation = SPI_CRCCALCULATION_DISABLE;
  hspi5.Init.CRCPolynomial = 10;
  if (HAL_SPI_Init(&hspi5) != HAL_OK)
  {
    Error_Handler();
  }
}

static void MX_TIM1_Init(void)
{

  TIM_ClockConfigTypeDef sClockSourceConfig = {0};
  TIM_MasterConfigTypeDef sMasterConfig = {0};

  htim1.Instance = TIM1;
  htim1.Init.Prescaler = 0;
  htim1.Init.CounterMode = TIM_COUNTERMODE_UP;
  htim1.Init.Period = 65535;
  htim1.Init.ClockDivision = TIM_CLOCKDIVISION_DIV1;
  htim1.Init.RepetitionCounter = 0;
  htim1.Init.AutoReloadPreload = TIM_AUTORELOAD_PRELOAD_DISABLE;
  if (HAL_TIM_Base_Init(&htim1) != HAL_OK)
  {
    Error_Handler();
  }
  sClockSourceConfig.ClockSource = TIM_CLOCKSOURCE_INTERNAL;
  if (HAL_TIM_ConfigClockSource(&htim1, &sClockSourceConfig) != HAL_OK)
  {
    Error_Handler();
  }
  sMasterConfig.MasterOutputTrigger = TIM_TRGO_RESET;
  sMasterConfig.MasterSlaveMode = TIM_MASTERSLAVEMODE_DISABLE;
  if (HAL_TIMEx_MasterConfigSynchronization(&htim1, &sMasterConfig) != HAL_OK)
  {
    Error_Handler();
  }
  /* USER CODE BEGIN TIM1_Init 2 */
  htim1.Init.Prescaler = g_tmr_psc;
  htim1.Init.Period = g_tmr_period;
  if (HAL_TIM_Base_Init(&htim1) != HAL_OK)
  {
    Error_Handler();
  }
  /* USER CODE END TIM1_Init 2 */
}

static void MX_TIM7_Init(void)
{

  TIM_MasterConfigTypeDef sMasterConfig = {0};

  htim7.Instance = TIM7;
  htim7.Init.Prescaler = 0;
  htim7.Init.CounterMode = TIM_COUNTERMODE_UP;
  htim7.Init.Period = 65535;
  htim7.Init.AutoReloadPreload = TIM_AUTORELOAD_PRELOAD_DISABLE;
  if (HAL_TIM_Base_Init(&htim7) != HAL_OK)
  {
    Error_Handler();
  }
  sMasterConfig.MasterOutputTrigger = TIM_TRGO_RESET;
  sMasterConfig.MasterSlaveMode = TIM_MASTERSLAVEMODE_DISABLE;
  if (HAL_TIMEx_MasterConfigSynchronization(&htim7, &sMasterConfig) != HAL_OK)
  {
    Error_Handler();
  }
  /* USER CODE BEGIN TIM7_Init 2 */
  htim7.Init.Prescaler = g_tmr_psc;
  htim7.Init.Period = g_tmr_period;
  if (HAL_TIM_Base_Init(&htim7) != HAL_OK)
  {
    Error_Handler();
  }
  /* USER CODE END TIM7_Init 2 */
}

static void MX_USART1_UART_Init(void)
{

  huart1.Instance = USART1;
  huart1.Init.BaudRate = 921600;
  huart1.Init.WordLength = UART_WORDLENGTH_8B;
  huart1.Init.StopBits = UART_STOPBITS_1;
  huart1.Init.Parity = UART_PARITY_NONE;
  huart1.Init.Mode = UART_MODE_TX_RX;
  huart1.Init.HwFlowCtl = UART_HWCONTROL_NONE;
  huart1.Init.OverSampling = UART_OVERSAMPLING_16;
  if (HAL_UART_Init(&huart1) != HAL_OK)
  {
    Error_Handler();
  }
  /* USER CODE BEGIN USART1_Init 2 */
  huart1.Init.BaudRate = UART1_BUAD;
  if (HAL_UART_Init(&huart1) != HAL_OK)
  {
    Error_Handler();
  }
  /* USER CODE END USART1_Init 2 */
}

static void MX_USART3_UART_Init(void)
{

  huart3.Instance = USART3;
  huart3.Init.BaudRate = 921600;
  huart3.Init.WordLength = UART_WORDLENGTH_8B;
  huart3.Init.StopBits = UART_STOPBITS_1;
  huart3.Init.Parity = UART_PARITY_NONE;
  huart3.Init.Mode = UART_MODE_TX_RX;
  huart3.Init.HwFlowCtl = UART_HWCONTROL_NONE;
  huart3.Init.OverSampling = UART_OVERSAMPLING_16;
  if (HAL_UART_Init(&huart3) != HAL_OK)
  {
    Error_Handler();
  }
}

static void MX_DMA_Init(void)
{

  /* DMA controller clock enable */
  __HAL_RCC_DMA2_CLK_ENABLE();

  /* DMA interrupt init */
  /* DMA2_Stream2_IRQn interrupt configuration */
  HAL_NVIC_SetPriority(DMA2_Stream2_IRQn, 0, 0);
  HAL_NVIC_EnableIRQ(DMA2_Stream2_IRQn);
  /* DMA2_Stream7_IRQn interrupt configuration */
  HAL_NVIC_SetPriority(DMA2_Stream7_IRQn, 0, 0);
  HAL_NVIC_EnableIRQ(DMA2_Stream7_IRQn);
}

static void MX_GPIO_Init(void)
{
  GPIO_InitTypeDef GPIO_InitStruct = {0};

  /* GPIO Ports Clock Enable */
  __HAL_RCC_GPIOC_CLK_ENABLE();
  __HAL_RCC_GPIOF_CLK_ENABLE();
  __HAL_RCC_GPIOH_CLK_ENABLE();
  __HAL_RCC_GPIOA_CLK_ENABLE();
  __HAL_RCC_GPIOB_CLK_ENABLE();
  __HAL_RCC_GPIOD_CLK_ENABLE();
  __HAL_RCC_GPIOG_CLK_ENABLE();

  /*Configure GPIO pin Output Level */
  HAL_GPIO_WritePin(GPIOF, GPIO_PIN_6, GPIO_PIN_RESET);

  /*Configure GPIO pin Output Level */
  HAL_GPIO_WritePin(GPIOA, GPIO_PIN_15, GPIO_PIN_RESET);

  /*Configure GPIO pin Output Level */
  HAL_GPIO_WritePin(GPIOD, GPIO_PIN_0 | GPIO_PIN_1 | GPIO_PIN_3 | GPIO_PIN_4 | GPIO_PIN_5, GPIO_PIN_RESET);

  /*Configure GPIO pin Output Level */
  HAL_GPIO_WritePin(GPIOG, GPIO_PIN_11 | GPIO_PIN_12 | GPIO_PIN_14, GPIO_PIN_RESET);

  /*Configure GPIO pin : PF6 */
  GPIO_InitStruct.Pin = GPIO_PIN_6;
  GPIO_InitStruct.Mode = GPIO_MODE_OUTPUT_PP;
  GPIO_InitStruct.Pull = GPIO_NOPULL;
  GPIO_InitStruct.Speed = GPIO_SPEED_FREQ_LOW;
  HAL_GPIO_Init(GPIOF, &GPIO_InitStruct);

  /*Configure GPIO pins : PB0 PB1 PB2 PB13
                           PB14 PB15 */
  GPIO_InitStruct.Pin = GPIO_PIN_0 | GPIO_PIN_1 | GPIO_PIN_2 | GPIO_PIN_13 | GPIO_PIN_14 | GPIO_PIN_15;
  GPIO_InitStruct.Mode = GPIO_MODE_INPUT;
  GPIO_InitStruct.Pull = GPIO_NOPULL;
  HAL_GPIO_Init(GPIOB, &GPIO_InitStruct);

  /*Configure GPIO pin : PA15 */
  GPIO_InitStruct.Pin = GPIO_PIN_15;
  GPIO_InitStruct.Mode = GPIO_MODE_OUTPUT_PP;
  GPIO_InitStruct.Pull = GPIO_NOPULL;
  GPIO_InitStruct.Speed = GPIO_SPEED_FREQ_LOW;
  HAL_GPIO_Init(GPIOA, &GPIO_InitStruct);

  /*Configure GPIO pins : PD0 PD1 PD3 PD4
                           PD5 */
  GPIO_InitStruct.Pin = GPIO_PIN_0 | GPIO_PIN_1 | GPIO_PIN_3 | GPIO_PIN_4 | GPIO_PIN_5;
  GPIO_InitStruct.Mode = GPIO_MODE_OUTPUT_PP;
  GPIO_InitStruct.Pull = GPIO_NOPULL;
  GPIO_InitStruct.Speed = GPIO_SPEED_FREQ_LOW;
  HAL_GPIO_Init(GPIOD, &GPIO_InitStruct);

  /*Configure GPIO pins : PG11 PG12 PG14 */
  GPIO_InitStruct.Pin = GPIO_PIN_11 | GPIO_PIN_12 | GPIO_PIN_14;
  GPIO_InitStruct.Mode = GPIO_MODE_OUTPUT_PP;
  GPIO_InitStruct.Pull = GPIO_NOPULL;
  GPIO_InitStruct.Speed = GPIO_SPEED_FREQ_LOW;
  HAL_GPIO_Init(GPIOG, &GPIO_InitStruct);
}

/* USER CODE BEGIN 4 */
/***************************************************************************
Function	: HAL_GPIO_EXTI_Callback
Date		: 2021.08.12
Descript 	: sw1, sw2, sw3
***************************************************************************/
void HAL_GPIO_EXTI_Callback(u16 GPIO_Pin)
{
}

/***************************************************************************
Function	: HAL_UART_RxCpltCallback
Date			: 2021.08.12
Editor		: JKS
Version		: 1.0
Descript 	: degign for speed
***************************************************************************/
void HAL_UART_RxCpltCallback(UART_HandleTypeDef *huart)
{
  u8 cks;
  static u32 num, step, get_size;

  s_upk.buf[num++] = s_upk.get;

  switch (step)
  {
  case 0:
    if (s_upk.buf[0] != 0xAE)
      num = 0;
    else
      step = 1;
    break;
  case 1:
    if (num >= BHD6)
    {
      s_upk.get_size = _8u16(s_upk.buf + 2);
      get_size = s_upk.get_size + BHD6;
      step = 2;
    }
    break;
  case 2:
    if (num >= get_size)
    {
      cks = 0;
      for (int i = 0; i < s_upk.get_size; i++)
      {
        cks += s_upk.buf[6 + i];
      }

      /*checksum fail*/
      if (cks != s_upk.buf[4])
      {
        s_upk.buf[6] = 0x00;
        s_upk.buf[7] = 0xEC;
        s_upk.buf[8] = 0xE1;
        uart_transfer_task(3);
      }
      else
      {
        s_bit.rx_done = 1;
      }
      num = 0;
      step = 0;
    }
    break;
  }

  HAL_UART_Receive_IT(&huart1, &s_upk.get, 1);
#if 0
  HAL_UART_Receive_DMA(&huart1, &s_upk.get, 1);
#endif
}

/***************************************************************************
Function	: HAL_UART_TxCpltCallback
Date			: 2021.08.12
Editor		: JKS
Version		: 1.0
Descript 	: Reserve
***************************************************************************/
void HAL_UART_TxCpltCallback(UART_HandleTypeDef *UartHandle)
{
  /* Set transmission flag: transfer complete*/
  // P0_T;
  s_bit.tx_done = 1;
}

/***************************************************************************
Function	: HAL_TIM_PeriodElapsedCallback
Date			: 2021.08.12
Editor		: JKS
Version		: 1.0
Descript 	: degign for speed
***************************************************************************/
void HAL_TIM_PeriodElapsedCallback(TIM_HandleTypeDef *htim)
{
  /* USER CODE BEGIN Callback 0 */

  if (htim->Instance == TIM1)
  {
    s_bit.timer1_act = 1;
  }
  else if (htim->Instance == TIM7)
  {
    s_bit.timer7_act = 1;
  }
}

/* USER CODE END 4 */

void Error_Handler(void)
{
  __disable_irq();
  while (1)
  {
  }
}

/************************ (C) COPYRIGHT STMicroelectronics *****END OF FILE****/
